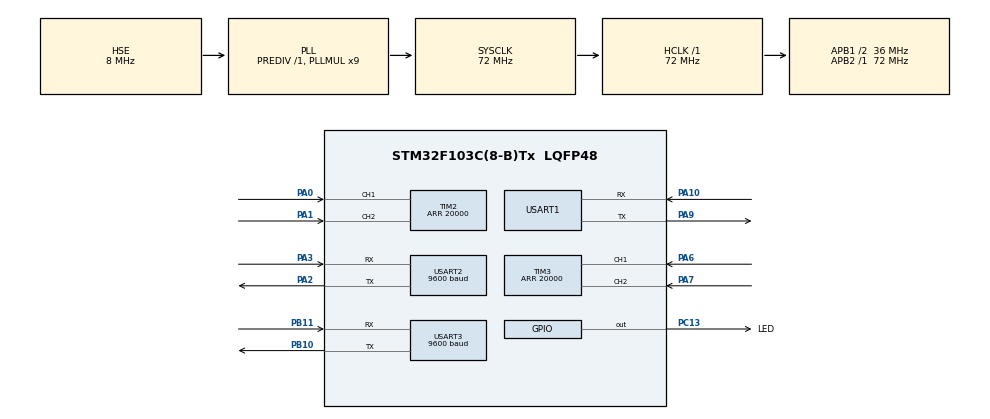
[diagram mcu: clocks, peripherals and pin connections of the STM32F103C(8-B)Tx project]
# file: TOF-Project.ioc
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Dma.Request0=USART1_RX
Dma.Request1=USART1_TX
Dma.Request2=USART2_RX
Dma.Request3=USART2_TX
Dma.Request4=USART3_RX
Dma.Request5=USART3_TX
Dma.USART1_RX.0.Direction=DMA_PERIPH_TO_MEMORY
Dma.USART1_RX.0.Instance=DMA1_Channel5
Dma.USART1_RX.0.MemDataAlignment=DMA_MDATAALIGN_BYTE
Dma.USART1_RX.0.MemInc=DMA_MINC_ENABLE
Dma.USART1_RX.0.Mode=DMA_NORMAL
Dma.USART1_RX.0.PeriphDataAlignment=DMA_PDATAALIGN_BYTE
Dma.USART1_RX.0.PeriphInc=DMA_PINC_DISABLE
Dma.USART1_RX.0.Priority=DMA_PRIORITY_LOW
Dma.USART1_TX.1.Direction=DMA_MEMORY_TO_PERIPH
Dma.USART1_TX.1.Instance=DMA1_Channel4
Dma.USART1_TX.1.MemDataAlignment=DMA_MDATAALIGN_BYTE
Dma.USART1_TX.1.MemInc=DMA_MINC_ENABLE
Dma.USART1_TX.1.Mode=DMA_NORMAL
Dma.USART1_TX.1.PeriphDataAlignment=DMA_PDATAALIGN_BYTE
Dma.USART1_TX.1.PeriphInc=DMA_PINC_DISABLE
Dma.USART1_TX.1.Priority=DMA_PRIORITY_LOW
Dma.USART2_RX.2.Direction=DMA_PERIPH_TO_MEMORY
Dma.USART2_RX.2.Instance=DMA1_Channel6
Dma.USART2_RX.2.MemDataAlignment=DMA_MDATAALIGN_BYTE
Dma.USART2_RX.2.MemInc=DMA_MINC_ENABLE
Dma.USART2_RX.2.Mode=DMA_NORMAL
Dma.USART2_RX.2.PeriphDataAlignment=DMA_PDATAALIGN_BYTE
Dma.USART2_RX.2.PeriphInc=DMA_PINC_DISABLE
Dma.USART2_RX.2.Priority=DMA_PRIORITY_LOW
Dma.USART2_TX.3.Direction=DMA_MEMORY_TO_PERIPH
Dma.USART2_TX.3.Instance=DMA1_Channel7
Dma.USART2_TX.3.MemDataAlignment=DMA_MDATAALIGN_BYTE
Dma.USART2_TX.3.MemInc=DMA_MINC_ENABLE
Dma.USART2_TX.3.Mode=DMA_NORMAL
Dma.USART2_TX.3.PeriphDataAlignment=DMA_PDATAALIGN_BYTE
Dma.USART2_TX.3.PeriphInc=DMA_PINC_DISABLE
Dma.USART2_TX.3.Priority=DMA_PRIORITY_LOW
Dma.USART3_RX.4.Direction=DMA_PERIPH_TO_MEMORY
Dma.USART3_RX.4.Instance=DMA1_Channel3
Dma.USART3_RX.4.MemDataAlignment=DMA_MDATAALIGN_BYTE
Dma.USART3_RX.4.MemInc=DMA_MINC_ENABLE
Dma.USART3_RX.4.Mode=DMA_NORMAL
Dma.USART3_RX.4.PeriphDataAlignment=DMA_PDATAALIGN_BYTE
Dma.USART3_RX.4.PeriphInc=DMA_PINC_DISABLE
Dma.USART3_RX.4.Priority=DMA_PRIORITY_LOW
Dma.USART3_TX.5.Direction=DMA_MEMORY_TO_PERIPH
Dma.USART3_TX.5.Instance=DMA1_Channel2
Dma.USART3_TX.5.MemDataAlignment=DMA_MDATAALIGN_BYTE
Dma.USART3_TX.5.MemInc=DMA_MINC_ENABLE
Dma.USART3_TX.5.Mode=DMA_NORMAL
Dma.USART3_TX.5.PeriphDataAlignment=DMA_PDATAALIGN_BYTE
Dma.USART3_TX.5.PeriphInc=DMA_PINC_DISABLE
Dma.USART3_TX.5.Priority=DMA_PRIORITY_LOW
Mcu.Family=STM32F1
Mcu.Name=STM32F103C(8-B)Tx
Mcu.Package=LQFP48
NVIC.DMA1_Channel2_IRQn=true\:0\:0\:false\:false\:true\:false\:true\:true
NVIC.DMA1_Channel3_IRQn=true\:0\:0\:false\:false\:true\:false\:true\:true
NVIC.DMA1_Channel4_IRQn=true\:0\:0\:false\:false\:true\:false\:true\:true
NVIC.DMA1_Channel5_IRQn=true\:0\:0\:false\:false\:true\:false\:true\:true
NVIC.DMA1_Channel6_IRQn=true\:0\:0\:false\:false\:true\:false\:true\:true
NVIC.DMA1_Channel7_IRQn=true\:0\:0\:false\:false\:true\:false\:true\:true
NVIC.PriorityGroup=NVIC_PRIORITYGROUP_4
NVIC.USART1_IRQn=true\:0\:0\:false\:false\:true\:true\:true\:true
NVIC.USART2_IRQn=true\:0\:0\:false\:false\:true\:true\:true\:true
NVIC.USART3_IRQn=true\:0\:0\:false\:false\:true\:true\:true\:true
PA0-WKUP.Signal=S_TIM2_CH1_ETR
PA1.Signal=S_TIM2_CH2
PA10.Mode=Asynchronous
PA10.Signal=USART1_RX
PA13.Mode=Serial_Wire
PA13.Signal=SYS_JTMS-SWDIO
PA14.Mode=Serial_Wire
PA14.Signal=SYS_JTCK-SWCLK
PA2.Mode=Asynchronous
PA2.Signal=USART2_TX
PA3.Mode=Asynchronous
PA3.Signal=USART2_RX
PA6.Signal=S_TIM3_CH1
PA7.Signal=S_TIM3_CH2
PA9.Mode=Asynchronous
PA9.Signal=USART1_TX
PB10.Mode=Asynchronous
PB10.Signal=USART3_TX
PB11.Mode=Asynchronous
PB11.Signal=USART3_RX
PC13-TAMPER-RTC.GPIO_Label=LED
PC13-TAMPER-RTC.Signal=GPIO_Output
PD0-OSC_IN.Mode=HSE-External-Oscillator
PD0-OSC_IN.Signal=RCC_OSC_IN
PD1-OSC_OUT.Mode=HSE-External-Oscillator
PD1-OSC_OUT.Signal=RCC_OSC_OUT
ProjectManager.HeapSize=0x200
ProjectManager.StackSize=0x400
ProjectManager.TargetToolchain=STM32CubeIDE
RCC.AHBFreq_Value=72000000
RCC.APB1CLKDivider=RCC_HCLK_DIV2
RCC.APB1Freq_Value=36000000
RCC.APB1TimFreq_Value=72000000
RCC.APB2Freq_Value=72000000
RCC.APB2TimFreq_Value=72000000
RCC.HCLKFreq_Value=72000000
RCC.PLLMUL=RCC_PLL_MUL9
RCC.PLLSourceVirtual=RCC_PLLSOURCE_HSE
RCC.SYSCLKFreq_VALUE=72000000
RCC.SYSCLKSource=RCC_SYSCLKSOURCE_PLLCLK
RCC.USBFreq_Value=72000000
SH.S_TIM2_CH1_ETR.0=TIM2_CH1,Encoder_Interface
SH.S_TIM2_CH2.0=TIM2_CH2,Encoder_Interface
SH.S_TIM3_CH1.0=TIM3_CH1,Encoder_Interface
SH.S_TIM3_CH2.0=TIM3_CH2,Encoder_Interface
TIM2.EncoderMode=TIM_ENCODERMODE_TI12
TIM2.Period=20000
TIM3.EncoderMode=TIM_ENCODERMODE_TI12
TIM3.Period=20000
TIM4.Period=20000
TIM4.Prescaler=720 - 1
USART1.VirtualMode=VM_ASYNC
USART2.BaudRate=9600
USART2.VirtualMode=VM_ASYNC
USART3.BaudRate=9600
USART3.VirtualMode=VM_ASYNC
VP_TIM4_VS_ClockSourceINT.Mode=Internal
board=custom

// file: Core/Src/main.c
/* USER CODE BEGIN Header */
/**
  ******************************************************************************
  * @file           : main.c
  * @brief          : Main program body
  ******************************************************************************
  * @attention
  *
  * Copyright (c) 2023 STMicroelectronics.
  * All rights reserved.
  *
  * This software is licensed under terms that can be found in the LICENSE file
  * in the root directory of this software component.
  * If no LICENSE file comes with this software, it is provided AS-IS.
  *
  ******************************************************************************
  */
/* USER CODE END Header */
#include "main.h"
#include "dma.h"
#include "tim.h"
#include "usart.h"
#include "gpio.h"

/* USER CODE BEGIN Includes */
#include "encode.h"
#include "stdio.h"
#include "stdlib.h"
/* USER CODE END Includes */

/* USER CODE BEGIN PV */

char data_2[10];
char data_3[10];

int size_2 = 0;
int size_3 = 0;

/* USER CODE END PV */

void SystemClock_Config(void);
/* USER CODE BEGIN PFP */

void HAL_UARTEx_RxEventCallback(UART_HandleTypeDef* huart, uint16_t Size)
{
    if (huart == &huart2) {
        size_2 = Size;
    }

    if (huart == &huart3) {
        size_3 = Size;
    }
}

/* USER CODE END PFP */

int main(void)
{

    /* MCU Configuration--------------------------------------------------------*/

    /* Reset of all peripherals, Initializes the Flash interface and the Systick. */
    HAL_Init();

    /* Configure the system clock */
    SystemClock_Config();

    /* Initialize all configured peripherals */
    MX_GPIO_Init();
    MX_DMA_Init();
    MX_USART1_UART_Init();
    MX_USART2_UART_Init();
    MX_USART3_UART_Init();
    MX_TIM2_Init();
    MX_TIM3_Init();
    MX_TIM4_Init();
    /* USER CODE BEGIN 2 */
    HAL_UARTEx_ReceiveToIdle_DMA(&huart2, (uint8_t*)data_2, sizeof(data_2));
    HAL_UARTEx_ReceiveToIdle_DMA(&huart3, (uint8_t*)data_3, sizeof(data_3));

    Encoder_Init();
    /* USER CODE END 2 */

    /* Infinite loop */
    /* USER CODE BEGIN WHILE */
    while (1) {
        // extern Motor motor1;
        // extern Motor motor2;
        /* USER CODE END WHILE */

        /* USER CODE BEGIN 3 */

        char send[50];

        Read_Encoder(0);
        Read_Encoder(1);

        // int size = sprintf(send,
        //     "A_%d_%d_%.2f_%.2f\n",
        //     atoi(data_2),
        //     atoi(data_3),
        //     motor1.speed,
        //     motor2.speed);

        HAL_Delay(50);

        int size = sprintf(send,
            "A_%d_%d_%d_%d_E",
            atoi(data_2),
            atoi(data_3),
            Read_Encoder(0),
            Read_Encoder(1));

        HAL_UARTEx_ReceiveToIdle_DMA(&huart3, (uint8_t*)data_3, sizeof(data_3));
        HAL_UARTEx_ReceiveToIdle_DMA(&huart2, (uint8_t*)data_2, sizeof(data_2));

        HAL_UART_Transmit_DMA(&huart1, (uint8_t*)send, size);

        // HAL_UART_Transmit_DMA(&huart1, (uint8_t*)&"Fuck!\n", sizeof("Fuck!"));
    }
    /* USER CODE END 3 */
}

void SystemClock_Config(void)
{
    RCC_OscInitTypeDef RCC_OscInitStruct = { 0 };
    RCC_ClkInitTypeDef RCC_ClkInitStruct = { 0 };

    /** Initializes the RCC Oscillators according to the specified parameters
  * in the RCC_OscInitTypeDef structure.
  */
    RCC_OscInitStruct.OscillatorType = RCC_OSCILLATORTYPE_HSE;
    RCC_OscInitStruct.HSEState = RCC_HSE_ON;
    RCC_OscInitStruct.HSEPredivValue = RCC_HSE_PREDIV_DIV1;
    RCC_OscInitStruct.HSIState = RCC_HSI_ON;
    RCC_OscInitStruct.PLL.PLLState = RCC_PLL_ON;
    RCC_OscInitStruct.PLL.PLLSource = RCC_PLLSOURCE_HSE;
    RCC_OscInitStruct.PLL.PLLMUL = RCC_PLL_MUL9;
    if (HAL_RCC_OscConfig(&RCC_OscInitStruct) != HAL_OK) {
        Error_Handler();
    }

    /** Initializes the CPU, AHB and APB buses clocks
  */
    RCC_ClkInitStruct.ClockType = RCC_CLOCKTYPE_HCLK | RCC_CLOCKTYPE_SYSCLK
        | RCC_CLOCKTYPE_PCLK1 | RCC_CLOCKTYPE_PCLK2;
    RCC_ClkInitStruct.SYSCLKSource = RCC_SYSCLKSOURCE_PLLCLK;
    RCC_ClkInitStruct.AHBCLKDivider = RCC_SYSCLK_DIV1;
    RCC_ClkInitStruct.APB1CLKDivider = RCC_HCLK_DIV2;
    RCC_ClkInitStruct.APB2CLKDivider = RCC_HCLK_DIV1;

    if (HAL_RCC_ClockConfig(&RCC_ClkInitStruct, FLASH_LATENCY_2) != HAL_OK) {
        Error_Handler();
    }
}

void Error_Handler(void)
{
    __disable_irq();
    while (1) {
    }
}
